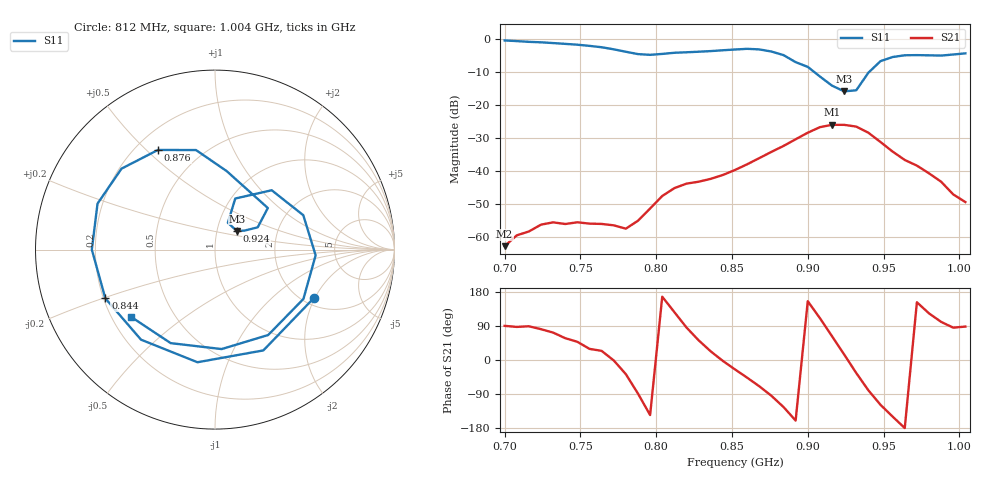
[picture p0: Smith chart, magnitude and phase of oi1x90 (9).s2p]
# Hz S RI R 50
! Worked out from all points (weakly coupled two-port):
!   39 points, 700 MHz to 1.004 GHz, reference 50 ohm
!   highest |S21| = -26.04 dB at 916 MHz (marker M1); lowest = -62.7 dB at 700 MHz (marker M2)
!   lowest |S11| = -15.9 dB at 924 MHz (marker M3), VSWR 1.38, Z = 62.4 + j13.2 ohm
!   |S11| at or under -10 dB: 904.1 MHz to 940.6 MHz (36.58 MHz wide, 3.97 % of centre)
!   S12 and S22 are empty: the file has one direction only
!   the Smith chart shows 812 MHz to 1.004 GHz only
!   S11 on the Smith chart (normalised r, x): 812 MHz: 2.25, -1.96; 844 MHz: 0.21, -0.20; 876 MHz: 0.29, +0.54; 924 MHz: 1.25, +0.26; 1.004 GHz: 0.28, -0.32
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7e8  0.7575 0.5571  -1.39e-06 0.000729  0 0  0 0
7.24e8  0.8465 -0.2455  0.000232 0.00152  0 0  0 0
7.4e8  0.4591 -0.6975  0.000846 0.00133  0 0  0 0
7.56e8  -0.1867 -0.7562  0.00139 0.000784  0 0  0 0
7.72e8  -0.6601 -0.2041  0.00151 -3.11e-05  0 0  0 0
7.8e8  -0.5963 0.2174  0.00107 -0.000815  0 0  0 0
7.88e8  -0.2524 0.5275  4.03e-05 -0.00177  0 0  0 0
7.96e8  0.227 0.5226  -0.00222 -0.00154  0 0  0 0
8.04e8  0.5602 0.1804  -0.00408 0.000935  0 0  0 0
8.12e8  0.549 -0.2718  -0.00326 0.00443  0 0  0 0
8.28e8  -0.0978 -0.6276  0.00424 0.00542  0 0  0 0
8.44e8  -0.6109 -0.2718  0.00869 -0.000372  0 0  0 0
8.52e8  -0.6862 -3.68e-05  0.00939 -0.00436  0 0  0 0
8.76e8  -0.3177 0.5552  -0.00146 -0.0194  0 0  0 0
9e8  0.2945 0.2317  -0.0343 0.0159  0 0  0 0
9.08e8  0.2379 0.1241  -0.0161 0.043  0 0  0 0
9.16e8  0.164 0.1057  0.0228 0.0444  0 0  0 0
9.24e8  0.1221 0.1032  0.0482 0.0126  0 0  0 0
9.4e8  0.1129 0.2845  0.00655 -0.0373  0 0  0 0
9.56e8  0.492 0.1916  -0.0169 -0.00999  0 0  0 0
9.8e8  0.2963 -0.4758  -0.00502 0.00772  0 0  0 0
1.004e9  -0.4695 -0.3734  0.000105 0.00338  0 0  0 0
